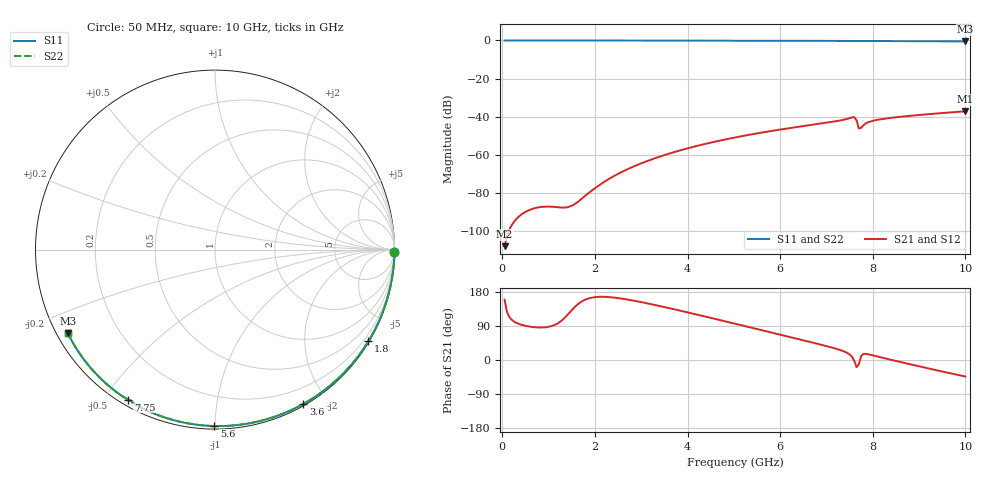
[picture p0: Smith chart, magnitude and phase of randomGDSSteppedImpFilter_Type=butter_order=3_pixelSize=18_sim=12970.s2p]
! freq	dB(S11)	phase(S11)	dB(S12)	phase(S12)
!  dB(S21)	phase(S21)	dB(S22)	phase(S22)
!S-par simulation data
#  GHz  S  DB  R 50
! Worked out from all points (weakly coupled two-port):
!   200 points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, 50 MHz to 10 GHz, reference 50 ohm
!   highest |S21| = -37.19 dB at 10 GHz (marker M1); lowest = -107.9 dB at 50 MHz (marker M2)
!   lowest |S11| = -0.5 dB at 10 GHz (marker M3), VSWR 34.30, Z = 1.56 - j13.2 ohm
!   |S11| at or under -10 dB: nowhere
!   |S22| runs from -0.5 to 0.0 dB; largest |S21 - S12| = 0
!   S11 on the Smith chart (normalised r, x): 50 MHz: open; 1.8 GHz: 0.03, -3.62; 3.6 GHz: 0.02, -1.73; 5.6 GHz: 0.02, -1.00; 7.75 GHz: 0.02, -0.58; 10 GHz: 0.03, -0.26
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0.05  -0.00 -0.9  -107.94 159.1  -107.94 159.1  -0.00 -0.9
0.85  -0.02 -14.7  -87.34 85.8  -87.34 85.8  -0.02 -14.7
1.75  -0.04 -30.0  -82.35 156.8  -82.35 156.8  -0.04 -30.0
1.8  -0.04 -30.9  -81.35 159.6  -81.35 159.6  -0.04 -30.8
1.9  -0.04 -32.5  -79.39 163.7  -79.39 163.7  -0.04 -32.5
2.25  -0.05 -38.4  -73.45 166.5  -73.45 166.5  -0.05 -38.3
2.6  -0.06 -44.1  -68.77 161.6  -68.77 161.6  -0.06 -44.1
3.4  -0.08 -57.0  -60.95 142.4  -60.95 142.4  -0.08 -57.0
3.6  -0.08 -60.2  -59.39 137.0  -59.39 137.0  -0.08 -60.1
4.3  -0.10 -71.0  -54.76 117.1  -54.76 117.1  -0.10 -71.0
5.05  -0.13 -82.2  -50.79 95.1  -50.79 95.1  -0.13 -82.2
5.6  -0.15 -90.3  -48.35 78.8  -48.35 78.8  -0.15 -90.2
6.7  -0.20 -105.8  -44.23 46.0  -44.23 46.0  -0.20 -105.8
7.25  -0.24 -113.4  -42.20 28.2  -42.20 28.2  -0.24 -113.4
7.6  -0.28 -118.4  -40.20 -2.1  -40.20 -2.1  -0.28 -118.3
7.65  -0.31 -119.0  -41.90 -18.9  -41.90 -18.9  -0.31 -118.9
7.7  -0.32 -119.5  -46.21 -11.2  -46.21 -11.2  -0.32 -119.4
7.75  -0.30 -120.1  -45.82 10.7  -45.82 10.7  -0.30 -120.0
7.85  -0.30 -121.4  -43.52 16.3  -43.52 16.3  -0.30 -121.4
7.95  -0.30 -122.8  -42.50 13.9  -42.50 13.9  -0.30 -122.8
8.35  -0.33 -128.2  -40.74 1.8  -40.74 1.8  -0.33 -128.2
10  -0.51 -150.5  -37.19 -43.7  -37.19 -43.7  -0.51 -150.4
